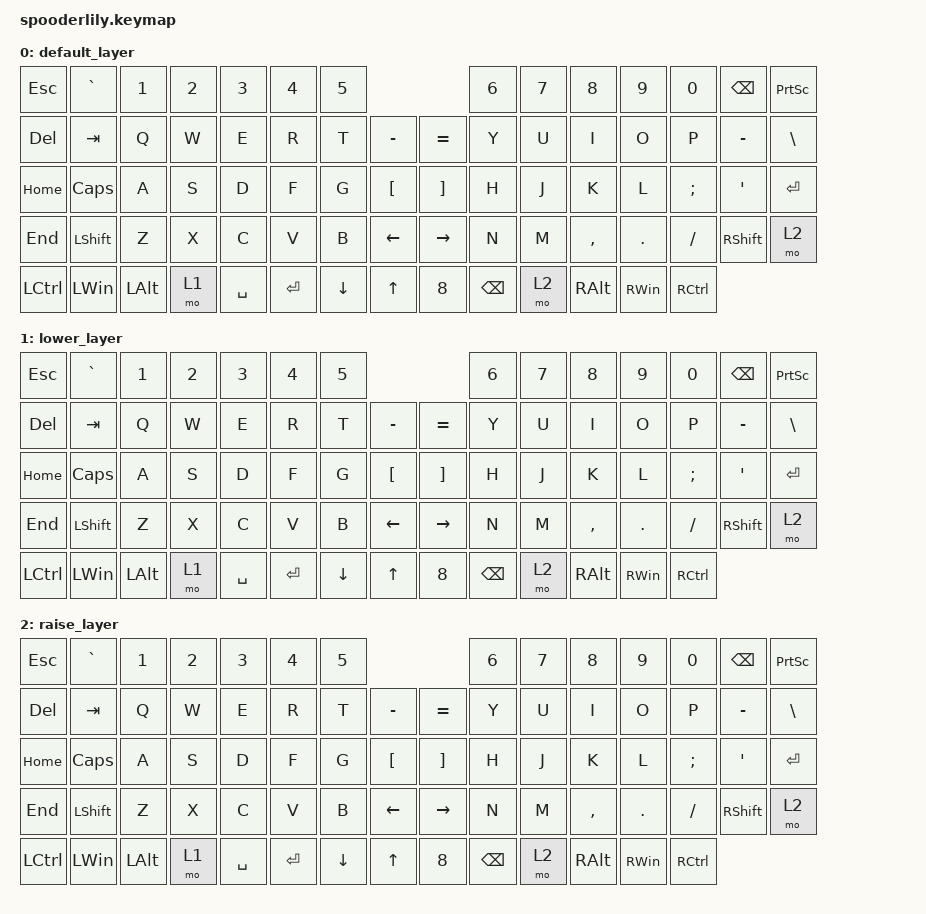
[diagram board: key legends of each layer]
/*
 * Copyright (c) 2020 The ZMK Contributors
 *
 * SPDX-License-Identifier: MIT
 */

#include <behaviors.dtsi>
#include <dt-bindings/zmk/bt.h>
#include <dt-bindings/zmk/ext_power.h>
#include <dt-bindings/zmk/keys.h>

/ {
keymap {
compatible = "zmk,keymap";

default_layer {
// ------------------------------------------------------------------------------------------------------------
//| ESC |   | TILDE |  1  |  2  |  3   |  4   |  5   |                   |  6   |  7    |  8    |  9   |   0   |   `   |
//| F1  |   |  TAB  |  Q  |  W  |  E   |  R   |  T   |                   |  Y   |  U    |  I    |  O   |   P   |   -   |
//| F2  |   |  CTRL |  A  |  S  |  D   |  F   |  G   |                   |  H   |  J    |  K    |  L   |   ;   |   '   |
//| F3  |   | SHIFT |  Z  |  X  |  C   |  V   |  B   | "[" |       | "]" |  N   |  M    |  ,    |  .   |   /   | SHIFT |
//                     | ALT  | GUI  | LOWER|  SPACE |  | ENTER | RAISE| BSPC  | GUI   |

bindings = <
&kp ESC     &kp GRAVE     &kp N1    &kp N2        &kp N3  &kp N4     &kp N5                                        &kp N6  &kp N7         &kp N8     &kp N9    &kp N0    &kp BACKSPACE  &kp PRINTSCREEN
&kp DELETE  &kp TAB       &kp Q     &kp W         &kp E   &kp R      &kp T    &kp MINUS         &kp EQUAL          &kp Y   &kp U          &kp I      &kp O     &kp P     &kp MINUS      &kp BACKSLASH
&kp HOME    &kp CAPSLOCK  &kp A     &kp S         &kp D   &kp F      &kp G    &kp LEFT_BRACKET  &kp RIGHT_BRACKET  &kp H   &kp J          &kp K      &kp L     &kp SEMI  &kp SQT        &kp RET
&kp END     &kp LSHFT     &kp Z     &kp X         &kp C   &kp V      &kp B    &kp LEFT_ARROW    &kp RIGHT          &kp N   &kp M          &kp COMMA  &kp DOT   &kp FSLH  &kp RSHFT      &mo 2
&kp LCTRL     &kp LWIN  &kp LEFT_ALT  &mo 1   &kp SPACE  &kp RET  &kp DOWN          &kp UP_ARROW       &kp N8  &kp BACKSPACE  &mo 2      &kp RALT  &kp RWIN  &kp RCTRL
>;


};

lower_layer {
// ------------------------------------------------------------------------------------------------------------
// | BTCLR | BT1 | BT2 |  BT3 |  BT4 |  BT5 |                   |      |       |       |      |       |       |
// |  F1   |  F2 |  F3 |  F4  |  F5  |  F6  |                   |  F7  |  F8   |  F9   |  F10 |  F11  |  F12  |
// |   `   |  !  |  @  |  #   |  $   |  %   |                   |  ^   |  &    |  *    |  (   |   )   |   ~   |
// |       |     |     |      |      |      |        |  |       |      |  _    |  +    |  {   |   }   |  "|"  |
//                     |      |      |      |        |  |       |      |       |       |


bindings = <
&kp ESC     &kp GRAVE     &kp N1    &kp N2        &kp N3  &kp N4     &kp N5                                        &kp N6  &kp N7         &kp N8     &kp N9    &kp N0    &kp BACKSPACE  &kp PRINTSCREEN
&kp DELETE  &kp TAB       &kp Q     &kp W         &kp E   &kp R      &kp T    &kp MINUS         &kp EQUAL          &kp Y   &kp U          &kp I      &kp O     &kp P     &kp MINUS      &kp BACKSLASH
&kp HOME    &kp CAPSLOCK  &kp A     &kp S         &kp D   &kp F      &kp G    &kp LEFT_BRACKET  &kp RIGHT_BRACKET  &kp H   &kp J          &kp K      &kp L     &kp SEMI  &kp SQT        &kp RET
&kp END     &kp LSHFT     &kp Z     &kp X         &kp C   &kp V      &kp B    &kp LEFT_ARROW    &kp RIGHT          &kp N   &kp M          &kp COMMA  &kp DOT   &kp FSLH  &kp RSHFT      &mo 2
&kp LCTRL     &kp LWIN  &kp LEFT_ALT  &mo 1   &kp SPACE  &kp RET  &kp DOWN          &kp UP_ARROW       &kp N8  &kp BACKSPACE  &mo 2      &kp RALT  &kp RWIN  &kp RCTRL
>;
};

raise_layer {
// ------------------------------------------------------------------------------------------------------------
// |       |     |     |      |      |      |                   |      |       |       |      |       |       |
// |   `   |  1  |  2  |  3   |  4   |  5   |                   |  6   |   7   |   8   |  9   |   0   |       |
// |   F1  |  F2 |  F3 |  F4  |  F5  |  F6  |                   |      |   <-  |   v   |  ^   |  ->   |       |
// |   F7  |  F8 |  F9 |  F10 |  F11 |  F12 |        |  |       |  +   |   -   |   =   |  [   |   ]   |   \   |
//                     |      |      |      |        |  |       |      |       |       |

bindings = <
&kp ESC     &kp GRAVE     &kp N1    &kp N2        &kp N3  &kp N4     &kp N5                                        &kp N6  &kp N7         &kp N8     &kp N9    &kp N0    &kp BACKSPACE  &kp PRINTSCREEN
&kp DELETE  &kp TAB       &kp Q     &kp W         &kp E   &kp R      &kp T    &kp MINUS         &kp EQUAL          &kp Y   &kp U          &kp I      &kp O     &kp P     &kp MINUS      &kp BACKSLASH
&kp HOME    &kp CAPSLOCK  &kp A     &kp S         &kp D   &kp F      &kp G    &kp LEFT_BRACKET  &kp RIGHT_BRACKET  &kp H   &kp J          &kp K      &kp L     &kp SEMI  &kp SQT        &kp RET
&kp END     &kp LSHFT     &kp Z     &kp X         &kp C   &kp V      &kp B    &kp LEFT_ARROW    &kp RIGHT          &kp N   &kp M          &kp COMMA  &kp DOT   &kp FSLH  &kp RSHFT      &mo 2
&kp LCTRL     &kp LWIN  &kp LEFT_ALT  &mo 1   &kp SPACE  &kp RET  &kp DOWN          &kp UP_ARROW       &kp N8  &kp BACKSPACE  &mo 2      &kp RALT  &kp RWIN  &kp RCTRL
>;
};
};
};
